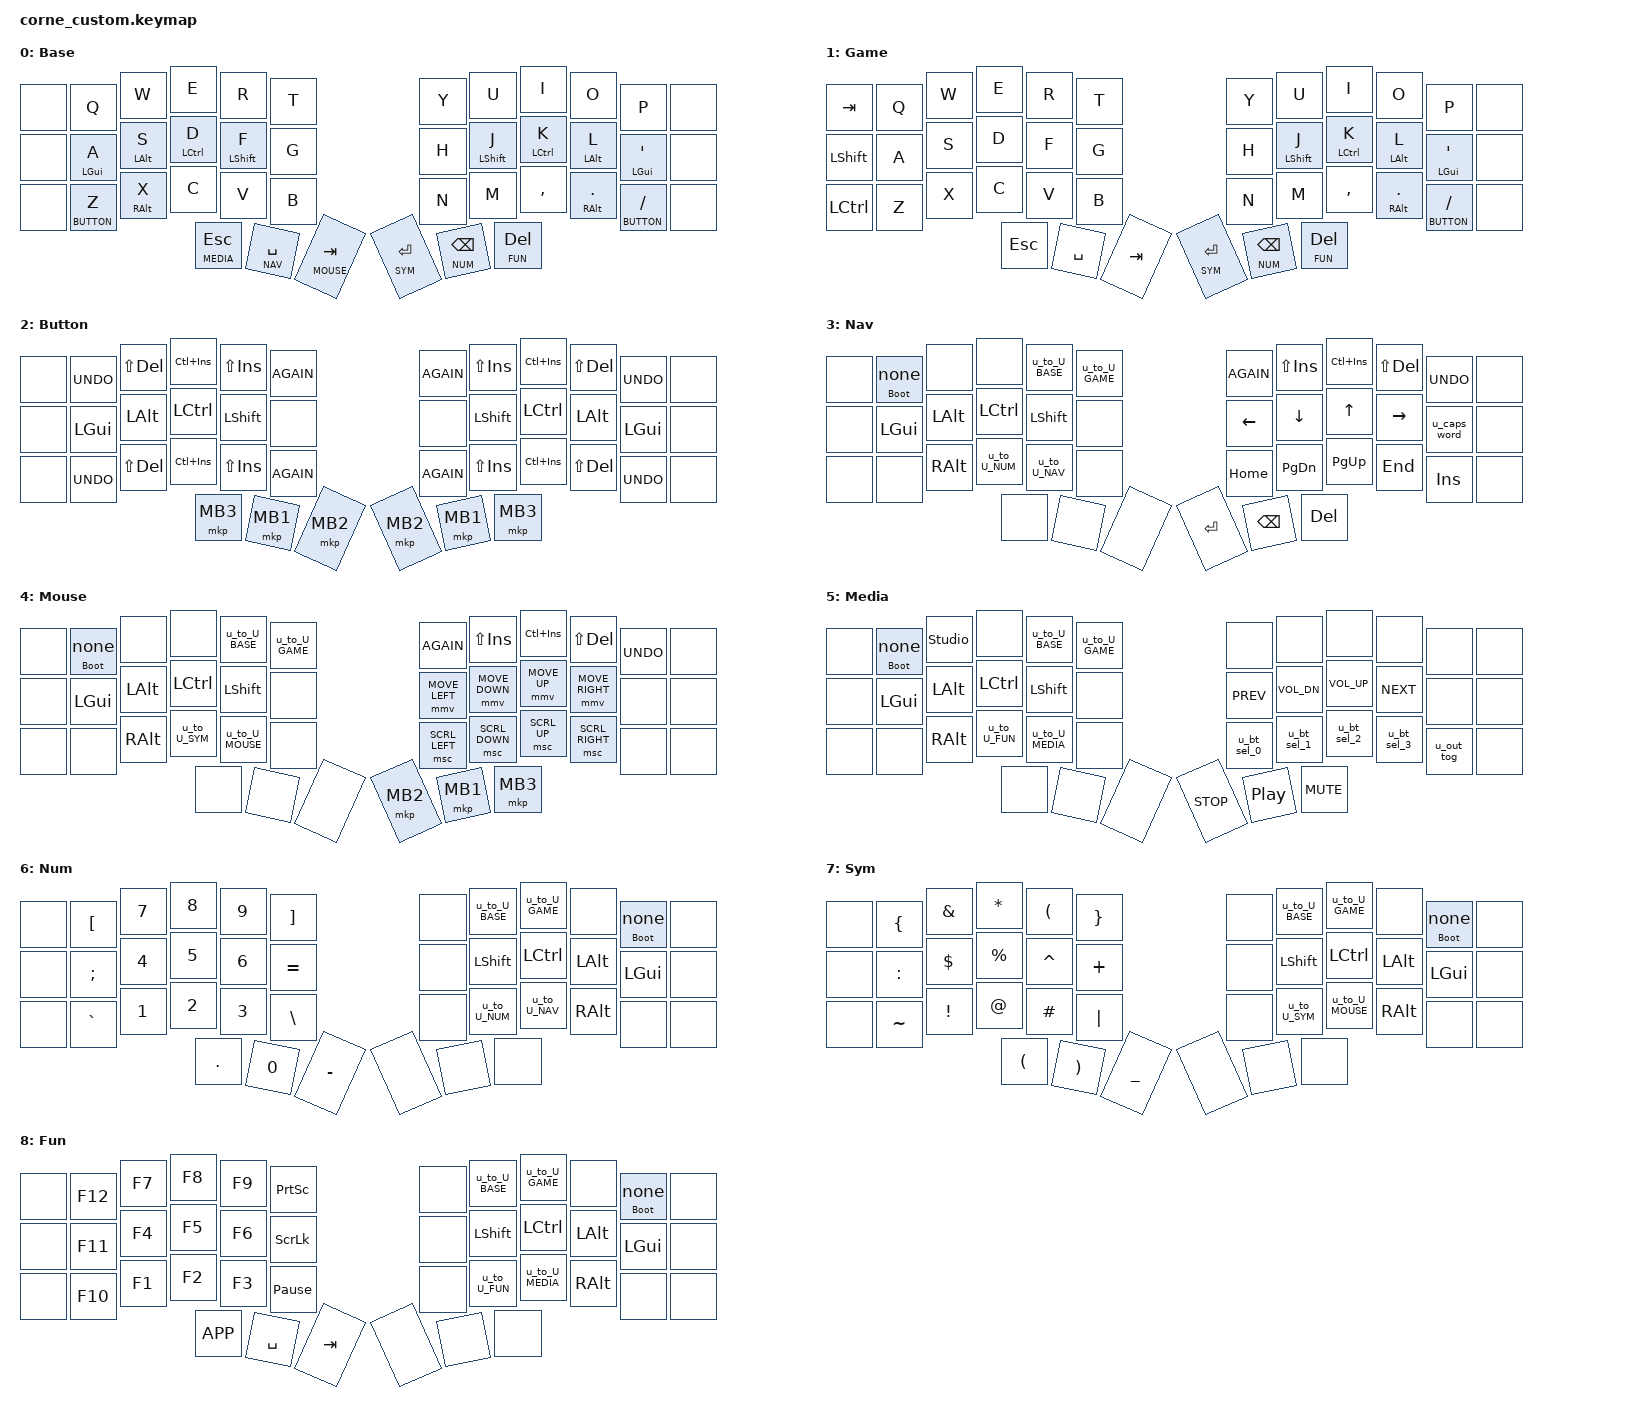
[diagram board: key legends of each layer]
/*
 * Miryoku for 6-col Corne (42 keys), QWERTY — faithful to the user's fork
 * github.com/MarcDrudis/miryoku_zmk (miryoku/custom_config.h), which is stock
 * manna-harbour Miryoku ZMK plus: QWERTY alphas, right pinky ' (SQT), a Game
 * layer, MIRYOKU_NAV_VI. Here EXTRA is dropped and layers are renumbered:
 *
 *   0 BASE  1 GAME  2 BUTTON  3 NAV  4 MOUSE  5 MEDIA  6 NUM  7 SYM  8 FUN
 *
 * Behaviors are stock: u_mt (mod-tap) / u_lt (layer-tap), tap-preferred, 200ms,
 * NO positional hold-trigger. Supporting behaviors (tap-dance layer switches,
 * shift mod-morphs, mouse accel) mirror the upstream .dtsi files.
 *
 * The keymap is plain: the outer 6th column is &none on every Miryoku layer;
 * the Game layer uses the LEFT outer column for TAB/LSHFT/LCTRL. The physical
 * right-half column reversal lives in the transform, not here.
 *
 * Position map (12-col transform; right half reversed in the transform):
 *   [0]  Q W E R T  |  Y U I O P  [11]
 *   [12] A S D F G  |  H J K L '  [23]
 *   [24] Z X C V B  |  N M , . /  [35]
 *            36 37 38 | 39 40 41
 */

#include <behaviors.dtsi>
#include <behaviors/mouse_keys.dtsi>
#include <dt-bindings/zmk/keys.h>
#include <dt-bindings/zmk/bt.h>
#include <dt-bindings/zmk/outputs.h>
#include <dt-bindings/zmk/pointing.h>

/* ---- layer indices ---- */
#define BASE   0
#define GAME   1
#define BUTTON 2
#define NAV    3
#define MOUSE  4
#define MEDIA  5
#define NUM    6
#define SYM    7
#define FUN    8

/* ---- Miryoku macro expansions (default branches) ---- */
/* clipboard (default, INS-based) */
#define U_RDO &kp K_AGAIN
#define U_PST &kp LS(INS)
#define U_CPY &kp LC(INS)
#define U_CUT &kp LS(DEL)
#define U_UND &kp K_UNDO
/* mouse buttons / move / wheel */
#define U_BTN1 &mkp MB1
#define U_BTN2 &mkp MB2
#define U_BTN3 &mkp MB3
#define U_MS_U &mmv MOVE_UP
#define U_MS_D &mmv MOVE_DOWN
#define U_MS_L &mmv MOVE_LEFT
#define U_MS_R &mmv MOVE_RIGHT
#define U_WH_U &msc SCRL_UP
#define U_WH_D &msc SCRL_DOWN
#define U_WH_L &msc SCRL_LEFT
#define U_WH_R &msc SCRL_RIGHT
/* RGB / ext-power macros dropped: this board has no underglow wired. */

/* mouse accel tuning (miryoku_mousekeys.dtsi) */
#define U_MOUSE_MOVE_EXPONENT 1
#define U_MOUSE_MOVE_TIME 1500
#define U_MOUSE_MOVE_DELAY 0

/* &msc override is commented out upstream, so only &mmv is applied */
&mmv {
	acceleration-exponent = <U_MOUSE_MOVE_EXPONENT>;
	time-to-max-speed-ms = <U_MOUSE_MOVE_TIME>;
	delay-ms = <U_MOUSE_MOVE_DELAY>;
};

/ {
	behaviors {
		/* stock Miryoku hold-taps: tap-preferred, single 200ms term */
		u_mt: u_mt {
			compatible = "zmk,behavior-hold-tap";
			#binding-cells = <2>;
			tapping-term-ms = <200>;
			flavor = "tap-preferred";
			bindings = <&kp>, <&kp>;
		};
		u_lt: u_lt {
			compatible = "zmk,behavior-hold-tap";
			#binding-cells = <2>;
			tapping-term-ms = <200>;
			flavor = "tap-preferred";
			bindings = <&mo>, <&kp>;
		};

		/*
		 * Bootloader guard: tap does nothing, only a deliberate ~2s hold
		 * enters the bootloader. hold-preferred + long term so a stray tap
		 * on the corner never reboots. Positional param is ignored by both
		 * &bootloader and &none.
		 */
		u_boot: u_boot {
			compatible = "zmk,behavior-hold-tap";
			#binding-cells = <2>;
			tapping-term-ms = <2000>;
			flavor = "hold-preferred";
			bindings = <&bootloader>, <&none>;
		};

		/* double-tap guarded "switch to layer" tap-dances (miryoku_double_tap_guard.dtsi) */
		u_to_U_BASE:   u_to_U_BASE   { compatible = "zmk,behavior-tap-dance"; #binding-cells = <0>; tapping-term-ms = <200>; bindings = <&none>, <&to BASE>; };
		u_to_U_GAME:   u_to_U_GAME   { compatible = "zmk,behavior-tap-dance"; #binding-cells = <0>; tapping-term-ms = <200>; bindings = <&none>, <&to GAME>; };
		u_to_U_BUTTON: u_to_U_BUTTON { compatible = "zmk,behavior-tap-dance"; #binding-cells = <0>; tapping-term-ms = <200>; bindings = <&none>, <&to BUTTON>; };
		u_to_U_NAV:    u_to_U_NAV    { compatible = "zmk,behavior-tap-dance"; #binding-cells = <0>; tapping-term-ms = <200>; bindings = <&none>, <&to NAV>; };
		u_to_U_MOUSE:  u_to_U_MOUSE  { compatible = "zmk,behavior-tap-dance"; #binding-cells = <0>; tapping-term-ms = <200>; bindings = <&none>, <&to MOUSE>; };
		u_to_U_MEDIA:  u_to_U_MEDIA  { compatible = "zmk,behavior-tap-dance"; #binding-cells = <0>; tapping-term-ms = <200>; bindings = <&none>, <&to MEDIA>; };
		u_to_U_NUM:    u_to_U_NUM    { compatible = "zmk,behavior-tap-dance"; #binding-cells = <0>; tapping-term-ms = <200>; bindings = <&none>, <&to NUM>; };
		u_to_U_SYM:    u_to_U_SYM    { compatible = "zmk,behavior-tap-dance"; #binding-cells = <0>; tapping-term-ms = <200>; bindings = <&none>, <&to SYM>; };
		u_to_U_FUN:    u_to_U_FUN    { compatible = "zmk,behavior-tap-dance"; #binding-cells = <0>; tapping-term-ms = <200>; bindings = <&none>, <&to FUN>; };

		/* shift mod-morphs (miryoku_shift_functions.dtsi) */
		u_caps_word: u_caps_word { compatible = "zmk,behavior-mod-morph"; #binding-cells = <0>; bindings = <&caps_word>, <&kp CAPS>; mods = <(MOD_LSFT|MOD_RSFT)>; };
		u_out_tog:   u_out_tog   { compatible = "zmk,behavior-mod-morph"; #binding-cells = <0>; bindings = <&out OUT_TOG>, <&out OUT_USB>; mods = <(MOD_LSFT|MOD_RSFT)>; };
		u_bt_sel_0: u_bt_sel_0 { compatible = "zmk,behavior-mod-morph"; #binding-cells = <0>; bindings = <&bt BT_SEL 0>, <&u_macro_bt_0>; mods = <(MOD_LSFT|MOD_RSFT)>; };
		u_bt_sel_1: u_bt_sel_1 { compatible = "zmk,behavior-mod-morph"; #binding-cells = <0>; bindings = <&bt BT_SEL 1>, <&u_macro_bt_1>; mods = <(MOD_LSFT|MOD_RSFT)>; };
		u_bt_sel_2: u_bt_sel_2 { compatible = "zmk,behavior-mod-morph"; #binding-cells = <0>; bindings = <&bt BT_SEL 2>, <&u_macro_bt_2>; mods = <(MOD_LSFT|MOD_RSFT)>; };
		u_bt_sel_3: u_bt_sel_3 { compatible = "zmk,behavior-mod-morph"; #binding-cells = <0>; bindings = <&bt BT_SEL 3>, <&u_macro_bt_3>; mods = <(MOD_LSFT|MOD_RSFT)>; };
	};

	/* shift+bt_sel clears that profile's bond, per Miryoku */
	macros {
		u_macro_bt_0: u_macro_bt_0 { compatible = "zmk,behavior-macro"; #binding-cells = <0>; wait-ms = <0>; bindings = <&bt BT_SEL 0 &bt BT_CLR>; };
		u_macro_bt_1: u_macro_bt_1 { compatible = "zmk,behavior-macro"; #binding-cells = <0>; wait-ms = <0>; bindings = <&bt BT_SEL 1 &bt BT_CLR>; };
		u_macro_bt_2: u_macro_bt_2 { compatible = "zmk,behavior-macro"; #binding-cells = <0>; wait-ms = <0>; bindings = <&bt BT_SEL 2 &bt BT_CLR>; };
		u_macro_bt_3: u_macro_bt_3 { compatible = "zmk,behavior-macro"; #binding-cells = <0>; wait-ms = <0>; bindings = <&bt BT_SEL 3 &bt BT_CLR>; };
	};

	keymap {
		compatible = "zmk,keymap";

		base {
			display-name = "Base";
			bindings = <
&none  &kp Q           &kp W          &kp E           &kp R           &kp T            &kp Y  &kp U           &kp I           &kp O          &kp P                &none
&none  &u_mt LGUI A    &u_mt LALT S   &u_mt LCTRL D   &u_mt LSHFT F   &kp G            &kp H  &u_mt LSHFT J   &u_mt LCTRL K   &u_mt LALT L   &u_mt LGUI SQT      &none
&none  &u_lt BUTTON Z  &u_mt RALT X   &kp C           &kp V           &kp B            &kp N  &kp M           &kp COMMA       &u_mt RALT DOT &u_lt BUTTON SLASH  &none
                                      &u_lt MEDIA ESC &u_lt NAV SPACE &u_lt MOUSE TAB  &u_lt SYM RET &u_lt NUM BSPC &u_lt FUN DEL
			>;
		};

		game {
			display-name = "Game";
			/*
			 * Letters stay in their BASE typing positions (no shift). Left
			 * home-row mods removed (plain &kp). The free LEFT outer column
			 * carries TAB/LSHFT/LCTRL. Left thumbs plain. Right hand + right
			 * thumbs keep full Miryoku, so to leave Game hold a right thumb
			 * (e.g. BSPC -> Num) then double-tap the -> BASE key.
			 */
			bindings = <
&kp TAB    &kp Q  &kp W  &kp E    &kp R      &kp T          &kp Y  &kp U          &kp I          &kp O          &kp P               &none
&kp LSHFT  &kp A  &kp S  &kp D    &kp F      &kp G          &kp H  &u_mt LSHFT J  &u_mt LCTRL K  &u_mt LALT L   &u_mt LGUI SQT      &none
&kp LCTRL  &kp Z  &kp X  &kp C    &kp V      &kp B          &kp N  &kp M          &kp COMMA      &u_mt RALT DOT &u_lt BUTTON SLASH  &none
                         &kp ESC  &kp SPACE  &kp TAB        &u_lt SYM RET &u_lt NUM BSPC &u_lt FUN DEL
			>;
		};

		button {
			display-name = "Button";
			bindings = <
&none  U_UND       U_CUT       U_CPY       U_PST       U_RDO        U_RDO       U_PST       U_CPY       U_CUT       U_UND       &none
&none  &kp LGUI    &kp LALT    &kp LCTRL   &kp LSHFT   &none        &none       &kp LSHFT   &kp LCTRL   &kp LALT    &kp LGUI    &none
&none  U_UND       U_CUT       U_CPY       U_PST       U_RDO        U_RDO       U_PST       U_CPY       U_CUT       U_UND       &none
                               U_BTN3      U_BTN1      U_BTN2       U_BTN2      U_BTN1      U_BTN3
			>;
		};

		nav {
			display-name = "Nav";
			bindings = <
&none  &u_boot 0 0  &none       &none          &u_to_U_BASE  &u_to_U_GAME  U_RDO      U_PST      U_CPY      U_CUT      U_UND         &none
&none  &kp LGUI     &kp LALT    &kp LCTRL      &kp LSHFT     &none         &kp LEFT   &kp DOWN   &kp UP     &kp RIGHT  &u_caps_word  &none
&none  &none        &kp RALT    &u_to_U_NUM    &u_to_U_NAV   &none        &kp HOME   &kp PG_DN  &kp PG_UP  &kp END    &kp INS       &none
                                &none          &none         &none        &kp RET    &kp BSPC   &kp DEL
			>;
		};

		mouse {
			display-name = "Mouse";
			bindings = <
&none  &u_boot 0 0  &none       &none         &u_to_U_BASE   &u_to_U_GAME  U_RDO   U_PST   U_CPY   U_CUT   U_UND    &none
&none  &kp LGUI     &kp LALT    &kp LCTRL     &kp LSHFT      &none        U_MS_L  U_MS_D  U_MS_U  U_MS_R  &none    &none
&none  &none        &kp RALT    &u_to_U_SYM   &u_to_U_MOUSE  &none        U_WH_L  U_WH_D  U_WH_U  U_WH_R  &none    &none
                                &none         &none          &none        U_BTN2  U_BTN1  U_BTN3
			>;
		};

		media {
			display-name = "Media";
			/*
			 * Fork MEDIA, with tweaks: volume laid vim-vertical (VOL_DN on the
			 * DOWN column, VOL_UP on the UP column, matching NAV's j/k), and
			 * &u_to_U_GAME next to &u_to_U_BASE (double-tap to switch to Game,
			 * like every other layer). RGB / ext-power keys removed — this board
			 * has no underglow wired and CONFIG_ZMK_RGB_UNDERGLOW is off, so they
			 * were dead keys.
			 */
			bindings = <
&none  &u_boot 0 0  &studio_unlock &none        &u_to_U_BASE   &u_to_U_GAME  &none         &none         &none         &none         &none       &none
&none  &kp LGUI     &kp LALT      &kp LCTRL     &kp LSHFT      &none         &kp C_PREV    &kp C_VOL_DN  &kp C_VOL_UP  &kp C_NEXT    &none       &none
&none  &none        &kp RALT      &u_to_U_FUN   &u_to_U_MEDIA  &none         &u_bt_sel_0   &u_bt_sel_1   &u_bt_sel_2   &u_bt_sel_3   &u_out_tog  &none
                                  &none         &none          &none         &kp C_STOP    &kp C_PP      &kp C_MUTE
			>;
		};

		num {
			display-name = "Num";
			bindings = <
&none  &kp LBKT   &kp N7   &kp N8   &kp N9   &kp RBKT      &none  &u_to_U_BASE  &u_to_U_GAME  &none        &u_boot 0 0  &none
&none  &kp SEMI   &kp N4   &kp N5   &kp N6   &kp EQUAL     &none  &kp LSHFT     &kp LCTRL    &kp LALT     &kp LGUI     &none
&none  &kp GRAVE  &kp N1   &kp N2   &kp N3   &kp BSLH      &none  &u_to_U_NUM   &u_to_U_NAV  &kp RALT     &none        &none
                           &kp DOT  &kp N0   &kp MINUS     &none  &none         &none
			>;
		};

		sym {
			display-name = "Sym";
			bindings = <
&none  &kp LBRC   &kp AMPS  &kp ASTRK  &kp LPAR  &kp RBRC      &none  &u_to_U_BASE  &u_to_U_GAME   &none      &u_boot 0 0  &none
&none  &kp COLON  &kp DLLR  &kp PRCNT  &kp CARET &kp PLUS      &none  &kp LSHFT     &kp LCTRL      &kp LALT   &kp LGUI     &none
&none  &kp TILDE  &kp EXCL  &kp AT     &kp HASH  &kp PIPE      &none  &u_to_U_SYM   &u_to_U_MOUSE  &kp RALT   &none        &none
                            &kp LPAR   &kp RPAR  &kp UNDER     &none  &none         &none
			>;
		};

		fun {
			display-name = "Fun";
			bindings = <
&none  &kp F12  &kp F7  &kp F8  &kp F9  &kp PSCRN         &none  &u_to_U_BASE  &u_to_U_GAME   &none      &u_boot 0 0  &none
&none  &kp F11  &kp F4  &kp F5  &kp F6  &kp SLCK          &none  &kp LSHFT     &kp LCTRL      &kp LALT   &kp LGUI     &none
&none  &kp F10  &kp F1  &kp F2  &kp F3  &kp PAUSE_BREAK   &none  &u_to_U_FUN   &u_to_U_MEDIA  &kp RALT   &none        &none
                        &kp K_APP  &kp SPACE  &kp TAB     &none  &none         &none
			>;
		};
	};
};
